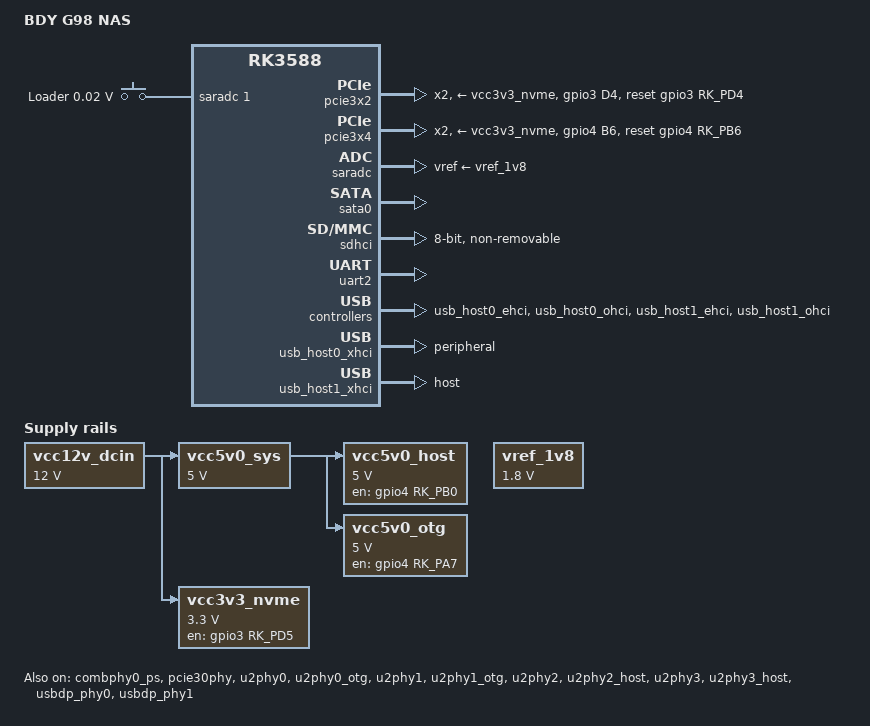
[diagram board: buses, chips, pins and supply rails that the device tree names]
// SPDX-License-Identifier: (GPL-2.0+ OR MIT)

/dts-v1/;

#include <dt-bindings/gpio/gpio.h>
#include <dt-bindings/input/input.h>
#include <dt-bindings/pinctrl/rockchip.h>
#include "rk3588.dtsi"

/ {
	model = "BDY G98 NAS";
	compatible = "bdy,g98-nas", "rockchip,rk3588";

	aliases {
		mmc0 = &sdhci;
		serial2 = &uart2;
	};

	chosen {
		stdout-path = "serial2:1500000n8";
	};

	adc-keys {
		compatible = "adc-keys";
		io-channels = <&saradc 1>;
		io-channel-names = "buttons";
		keyup-threshold-microvolt = <1800000>;
		poll-interval = <100>;

		button-loader {
			label = "Loader";
			linux,code = <KEY_VOLUMEUP>;
			press-threshold-microvolt = <20000>;
		};
	};

	vcc12v_dcin: vcc12v-dcin-regulator {
		compatible = "regulator-fixed";
		regulator-name = "vcc12v_dcin";
		regulator-always-on;
		regulator-boot-on;
		regulator-min-microvolt = <12000000>;
		regulator-max-microvolt = <12000000>;
	};

	vcc5v0_sys: vcc5v0-sys-regulator {
		compatible = "regulator-fixed";
		regulator-name = "vcc5v0_sys";
		regulator-always-on;
		regulator-boot-on;
		regulator-min-microvolt = <5000000>;
		regulator-max-microvolt = <5000000>;
		vin-supply = <&vcc12v_dcin>;
	};

	vcc3v3_nvme: vcc3v3-nvme-regulator {
		compatible = "regulator-fixed";
		regulator-name = "vcc3v3_nvme";
		regulator-min-microvolt = <3300000>;
		regulator-max-microvolt = <3300000>;
		regulator-boot-on;
		regulator-always-on;
		enable-active-high;
		gpios = <&gpio3 RK_PD5 GPIO_ACTIVE_HIGH>;
		startup-delay-us = <7500>;
		pinctrl-names = "default";
		pinctrl-0 = <&nvme_power_en>;
		vin-supply = <&vcc12v_dcin>;
	};

	vcc5v0_host: vcc5v0-host-regulator {
		compatible = "regulator-fixed";
		regulator-name = "vcc5v0_host";
		regulator-always-on;
		regulator-boot-on;
		regulator-min-microvolt = <5000000>;
		regulator-max-microvolt = <5000000>;
		enable-active-high;
		gpio = <&gpio4 RK_PB0 GPIO_ACTIVE_HIGH>;
		pinctrl-names = "default";
		pinctrl-0 = <&vcc5v0_host_en>;
		vin-supply = <&vcc5v0_sys>;
	};

	vcc5v0_otg: vcc5v0-otg-regulator {
		compatible = "regulator-fixed";
		regulator-name = "vcc5v0_otg";
		regulator-always-on;
		regulator-boot-on;
		regulator-min-microvolt = <5000000>;
		regulator-max-microvolt = <5000000>;
		enable-active-high;
		gpio = <&gpio4 RK_PA7 GPIO_ACTIVE_HIGH>;
		pinctrl-names = "default";
		pinctrl-0 = <&vcc5v0_otg_en>;
		vin-supply = <&vcc5v0_sys>;
	};

	vref_1v8: vref-1v8-regulator {
		compatible = "regulator-fixed";
		regulator-name = "vref_1v8";
		regulator-always-on;
		regulator-boot-on;
		regulator-min-microvolt = <1800000>;
		regulator-max-microvolt = <1800000>;
	};
};

&combphy0_ps {
	status = "okay";
};

&pcie30phy {
	data-lanes = <1 1 2 2>;
	status = "okay";
};

&pcie3x2 {
	num-lanes = <2>;
	reset-gpios = <&gpio3 RK_PD4 GPIO_ACTIVE_HIGH>;
	vpcie3v3-supply = <&vcc3v3_nvme>;
	pinctrl-names = "default";
	pinctrl-0 = <&pcie3x2_rst>;
	status = "okay";
};

&pcie3x4 {
	num-lanes = <2>;
	reset-gpios = <&gpio4 RK_PB6 GPIO_ACTIVE_HIGH>;
	vpcie3v3-supply = <&vcc3v3_nvme>;
	pinctrl-names = "default";
	pinctrl-0 = <&pcie3x4_rst>;
	status = "okay";
};

&pinctrl {
	nvme {
		nvme_power_en: nvme-power-en {
			rockchip,pins = <3 RK_PD5 RK_FUNC_GPIO &pcfg_pull_none>;
		};

		pcie3x2_rst: pcie3x2-rst {
			rockchip,pins = <3 RK_PD4 RK_FUNC_GPIO &pcfg_pull_none>;
		};

		pcie3x4_rst: pcie3x4-rst {
			rockchip,pins = <4 RK_PB6 RK_FUNC_GPIO &pcfg_pull_none>;
		};
	};

	usb {
		vcc5v0_host_en: vcc5v0-host-en {
			rockchip,pins = <4 RK_PB0 RK_FUNC_GPIO &pcfg_pull_none>;
		};

		vcc5v0_otg_en: vcc5v0-otg-en {
			rockchip,pins = <4 RK_PA7 RK_FUNC_GPIO &pcfg_pull_none>;
		};
	};
};

&saradc {
	vref-supply = <&vref_1v8>;
	status = "okay";
};

&sata0 {
	status = "okay";
};

&sdhci {
	bus-width = <8>;
	cap-mmc-highspeed;
	mmc-hs200-1_8v;
	mmc-hs400-1_8v;
	mmc-hs400-enhanced-strobe;
	no-sd;
	no-sdio;
	non-removable;
	status = "okay";
};

&sdio {
	status = "disabled";
};

&sdmmc {
	status = "disabled";
};

&u2phy0 {
	status = "okay";
};

&u2phy0_otg {
	phy-supply = <&vcc5v0_otg>;
	status = "okay";
};

&u2phy1 {
	status = "okay";
};

&u2phy1_otg {
	phy-supply = <&vcc5v0_host>;
	status = "okay";
};

&u2phy2 {
	status = "okay";
};

&u2phy2_host {
	phy-supply = <&vcc5v0_host>;
	status = "okay";
};

&u2phy3 {
	status = "okay";
};

&u2phy3_host {
	phy-supply = <&vcc5v0_host>;
	status = "okay";
};

&uart2 {
	pinctrl-0 = <&uart2m0_xfer>;
	status = "okay";
};

&usb_host0_ehci {
	status = "okay";
};

&usb_host0_ohci {
	status = "okay";
};

&usb_host0_xhci {
	dr_mode = "peripheral";
	maximum-speed = "high-speed";
	status = "okay";
};

&usb_host1_ehci {
	status = "okay";
};

&usb_host1_ohci {
	status = "okay";
};

&usb_host1_xhci {
	dr_mode = "host";
	maximum-speed = "high-speed";
	status = "okay";
};

&usbdp_phy0 {
	status = "okay";
};

&usbdp_phy1 {
	maximum-speed = "high-speed";
	status = "okay";
};
